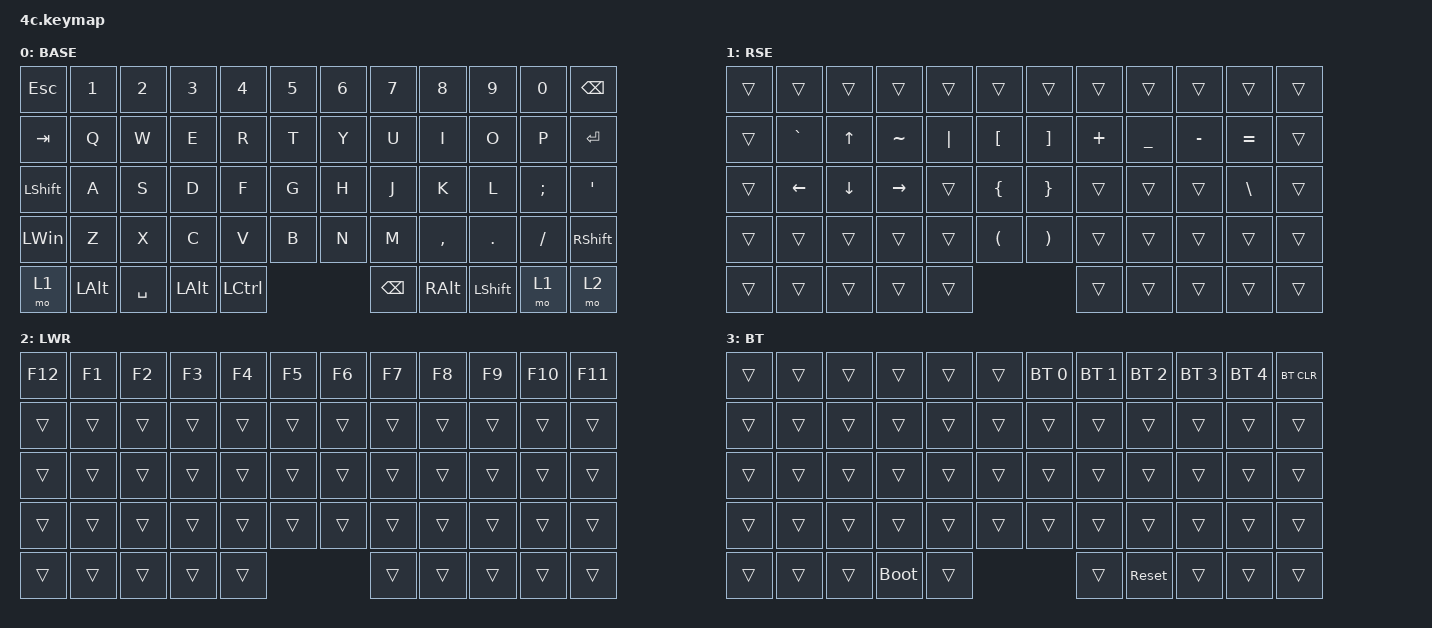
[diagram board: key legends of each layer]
/*
 * Copyright (c) 2020 The ZMK Contributors
 *
 * SPDX-License-Identifier: MIT
 */
/* THIS FILE WAS GENERATED!
 *
 * This file was generated automatically. You may or may not want to
 * edit it directly.
 */

#include <behaviors.dtsi>
#include <dt-bindings/zmk/bt.h>
#include <dt-bindings/zmk/keys.h>

/ {
    combos {
        compatible = "zmk,combos";

        btMo {
            bindings = <&mo 3>;
            key-positions = <56 57>;
        };
    };

    keymap {
        compatible = "zmk,keymap";

        BASE {
            bindings = <
&kp ESC         &kp NUMBER_1  &kp NUMBER_2  &kp NUMBER_3  &kp NUMBER_4  &kp NUMBER_5    &kp NUMBER_6  &kp NUMBER_7   &kp NUMBER_8   &kp NUMBER_9    &kp NUMBER_0  &kp BACKSPACE
&kp TAB         &kp Q         &kp W         &kp E         &kp R         &kp T           &kp Y         &kp U          &kp I          &kp O           &kp P         &kp ENTER
&kp LEFT_SHIFT  &kp A         &kp S         &kp D         &kp F         &kp G           &kp H         &kp J          &kp K          &kp L           &kp SEMI      &kp APOS
&kp LEFT_WIN    &kp Z         &kp X         &kp C         &kp V         &kp B           &kp N         &kp M          &kp COMMA      &kp PERIOD      &kp SLASH     &kp RIGHT_SHIFT
&mo 1           &kp LEFT_ALT  &kp SPACE     &kp LEFT_ALT  &kp LCTRL                                   &kp BACKSPACE  &kp RIGHT_ALT  &kp LEFT_SHIFT  &mo 1         &mo 2
            >;
        };

        RSE {
            bindings = <
&trans  &trans     &trans    &trans     &trans    &trans                  &trans                 &trans    &trans     &trans     &trans         &trans
&trans  &kp GRAVE  &kp UP    &kp TILDE  &kp PIPE  &kp LEFT_BRACKET        &kp RIGHT_BRACKET      &kp PLUS  &kp UNDER  &kp MINUS  &kp EQUAL      &trans
&trans  &kp LEFT   &kp DOWN  &kp RIGHT  &trans    &kp LEFT_BRACE          &kp RIGHT_BRACE        &trans    &trans     &trans     &kp BACKSLASH  &trans
&trans  &trans     &trans    &trans     &trans    &kp LEFT_PARENTHESIS    &kp RIGHT_PARENTHESIS  &trans    &trans     &trans     &trans         &trans
&trans  &trans     &trans    &trans     &trans                                                   &trans    &trans     &trans     &trans         &trans
            >;
        };

        LWR {
            bindings = <
&kp F12  &kp F1  &kp F2  &kp F3  &kp F4  &kp F5    &kp F6  &kp F7  &kp F8  &kp F9  &kp F10  &kp F11
&trans   &trans  &trans  &trans  &trans  &trans    &trans  &trans  &trans  &trans  &trans   &trans
&trans   &trans  &trans  &trans  &trans  &trans    &trans  &trans  &trans  &trans  &trans   &trans
&trans   &trans  &trans  &trans  &trans  &trans    &trans  &trans  &trans  &trans  &trans   &trans
&trans   &trans  &trans  &trans  &trans                    &trans  &trans  &trans  &trans   &trans
            >;
        };

        BT {
            bindings = <
&trans  &trans  &trans  &trans       &trans  &trans    &bt BT_SEL 0  &bt BT_SEL 1  &bt BT_SEL 2  &bt BT_SEL 3  &bt BT_SEL 4  &bt BT_CLR
&trans  &trans  &trans  &trans       &trans  &trans    &trans        &trans        &trans        &trans        &trans        &trans
&trans  &trans  &trans  &trans       &trans  &trans    &trans        &trans        &trans        &trans        &trans        &trans
&trans  &trans  &trans  &trans       &trans  &trans    &trans        &trans        &trans        &trans        &trans        &trans
&trans  &trans  &trans  &bootloader  &trans                          &trans        &sys_reset    &trans        &trans        &trans
            >;
        };
    };
};
